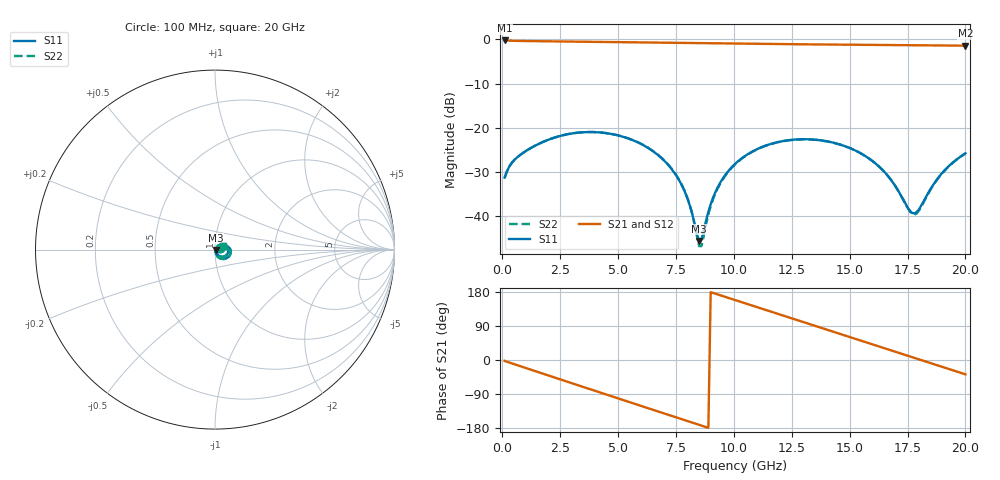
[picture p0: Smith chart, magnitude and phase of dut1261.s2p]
! Touchstone file exported from HFSS 2026.1.0
!  File:  C:/ffzhzh/LocalFiles/Ansys_Project_Files/temp_train_TSV_RDL_1261_1783327181_39728.aedt
!  Generated:  04:51:59 PM Jul  6, 2026
!  Design:  TSV_RDL
!  Project:  temp_train_TSV_RDL_1261_1783327181_39728
! Variables:
!  h_bsmrdl = 3.34um
!  h_ox = 20um
!  h_rdl = 5um
!  h_sub = 94.36um
!  h_tmrdl = 4.17um
!  h_tsv = 94.36um
!  h_via = 3um
!  l_bsmrdl = 866.73um
!  l_sub = 6706.38um
!  l_tmrdl = 890.69um
!  m_sub = 200um
!  pitch = 30.3um
!  r_tsv = 10.39um
!  s_tmrdl = 10um
!  w_bsmrdl = 23.37um
!  w_sub = 500um
!  w_tmrdl = 24.44um
!  x_tsv_center1 = 902.91um
!  x_tsv_center2 = 1793.01um
!  x_tsv_center3 = 2708.14um
!  x_tsv_center4 = 3598.24um
!  x_tsv_center5 = 4513.37um
!  x_tsv_center6 = 5403.47um
# GHz S MA R 50.000000
! Terminal data exported
! Port[1] = TM_RDL1_1_T1
! Port[2] = TM_RDL5_1_T1
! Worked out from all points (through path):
!   200 points, 100 MHz to 20 GHz, reference 50 ohm
!   highest |S21| = -0.23 dB at 100 MHz (marker M1); lowest = -1.4 dB at 20 GHz (marker M2)
!   group delay of S21, straight-line fit = 55.1 ps
!   lowest |S11| = -45.7 dB at 8.5 GHz (marker M3), VSWR 1.01, Z = 50.5 - j0.219 ohm
!   |S11| at or under -10 dB: start of sweep to end of sweep
!   |S22| runs from -46.9 to -21.0 dB; largest |S21 - S12| = 1.6e-14
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0.1  0.02713 14.4  0.974 -2.3  0.974 -2.3  0.02713 14.4
! Gamma 0 0 0 0
! Port Impedance 50 0 50 0
0.5  0.04252 23.3  0.9643 -10.7  0.9643 -10.7  0.04253 23.3
1.2  0.05819 21.3  0.9576 -24.8  0.9576 -24.8  0.05821 21.3
2.4  0.07928 8.7  0.95 -49.1  0.95 -49.1  0.07937 8.6
3.5  0.08877 -8.6  0.9429 -71.2  0.9429 -71.2  0.08892 -8.7
5.1  0.08045 -36.6  0.9326 -103.3  0.9326 -103.3  0.0807 -36.9
6.8  0.04713 -65.7  0.9212 -137.3  0.9212 -137.3  0.04744 -66.6
7.4  0.03169 -73.9  0.917 -149.2  0.917 -149.2  0.03198 -75.3
7.9  0.01833 -76.4  0.9134 -159.2  0.9134 -159.2  0.01853 -79.0
8.2  0.0106 -69.3  0.9112 -165.1  0.9112 -165.1  0.01063 -74.1
8.5  0.005215 -24.6  0.909 -171.1  0.909 -171.1  0.004558 -31.6
8.6  0.005421 3.4  0.9082 -173.1  0.9082 -173.1  0.004544 1.6
8.9  0.01116 41.4  0.906 -179.0  0.906 -179.0  0.01044 44.2
9.2  0.01856 47.1  0.9038 175.0  0.9038 175.0  0.01796 49.2
10.1  0.0399 39.1  0.8974 157.2  0.8974 157.2  0.03943 40.2
11.8  0.06772 11.3  0.8866 123.8  0.8866 123.8  0.0674 11.8
13.4  0.07346 -16.2  0.8788 92.3  0.8788 92.3  0.07329 -16.0
15  0.05892 -42.5  0.8723 60.8  0.8723 60.8  0.05889 -42.5
16.7  0.02746 -60.7  0.8654 27.3  0.8654 27.3  0.02746 -61.2
17.8  0.01069 -10.4  0.8606 5.5  0.8606 5.5  0.01035 -11.1
19  0.03073 34.8  0.8549 -18.1  0.8549 -18.1  0.03045 35.4
20  0.05115 25.3  0.8502 -37.8  0.8502 -37.8  0.05093 25.7
